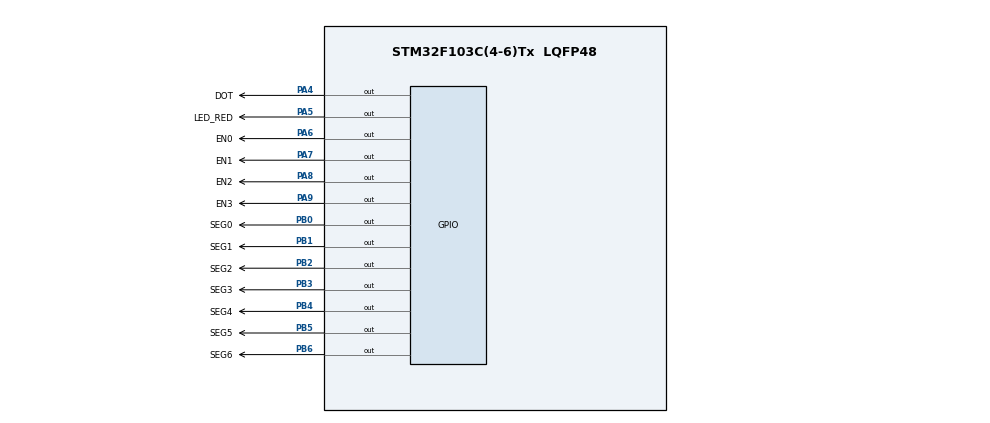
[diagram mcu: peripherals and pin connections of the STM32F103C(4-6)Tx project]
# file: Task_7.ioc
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Mcu.Family=STM32F1
Mcu.Name=STM32F103C(4-6)Tx
Mcu.Package=LQFP48
NVIC.PriorityGroup=NVIC_PRIORITYGROUP_4
NVIC.TIM2_IRQn=true\:0\:0\:false\:false\:true\:true\:true
PA4.GPIO_Label=DOT
PA4.Signal=GPIO_Output
PA5.GPIO_Label=LED_RED
PA5.Signal=GPIO_Output
PA6.GPIO_Label=EN0
PA6.Signal=GPIO_Output
PA7.GPIO_Label=EN1
PA7.Signal=GPIO_Output
PA8.GPIO_Label=EN2
PA8.Signal=GPIO_Output
PA9.GPIO_Label=EN3
PA9.Signal=GPIO_Output
PB0.GPIO_Label=SEG0
PB0.Signal=GPIO_Output
PB1.GPIO_Label=SEG1
PB1.Signal=GPIO_Output
PB2.GPIO_Label=SEG2
PB2.Signal=GPIO_Output
PB3.GPIO_Label=SEG3
PB3.Signal=GPIO_Output
PB4.GPIO_Label=SEG4
PB4.Signal=GPIO_Output
PB5.GPIO_Label=SEG5
PB5.Signal=GPIO_Output
PB6.GPIO_Label=SEG6
PB6.Signal=GPIO_Output
ProjectManager.HeapSize=0x200
ProjectManager.StackSize=0x400
ProjectManager.TargetToolchain=STM32CubeIDE
RCC.APB1Freq_Value=8000000
RCC.APB2Freq_Value=8000000
TIM2.Period=9
TIM2.Prescaler=7999
VP_SYS_VS_ND.Mode=No_Debug
VP_TIM2_VS_ClockSourceINT.Mode=Internal
board=custom

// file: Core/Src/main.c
/* USER CODE BEGIN Header */
/**
  ******************************************************************************
  * @file           : main.c
  * @brief          : Main program body
  ******************************************************************************
  * @attention
  *
  * <h2><center>&copy; Copyright (c) 2022 STMicroelectronics.
  * All rights reserved.</center></h2>
  *
  * This software component is licensed by ST under BSD 3-Clause license,
  * the "License"; You may not use this file except in compliance with the
  * License. You may obtain a copy of the License at:
  *                        opensource.org/licenses/BSD-3-Clause
  *
  ******************************************************************************
  */
/* USER CODE END Header */
#include "main.h"

/* USER CODE BEGIN Includes */
#include "software_timer.h"
/* USER CODE END Includes */

TIM_HandleTypeDef htim2;

void SystemClock_Config(void);
static void MX_GPIO_Init(void);
static void MX_TIM2_Init(void);

void  display7SEG_1(int num)     // LED 7 doan kiem soat den giao thong o line 1 va 3
   {

 	 if(num==0)
 	 {
 	 	 // Number 0
 	           HAL_GPIO_WritePin(SEG0_GPIO_Port, SEG0_Pin, 0);          //a
 	  	       HAL_GPIO_WritePin(SEG1_GPIO_Port, SEG1_Pin, 0);      //b
 	  	       HAL_GPIO_WritePin(SEG2_GPIO_Port, SEG2_Pin, 0);     //c
 	  	       HAL_GPIO_WritePin(SEG3_GPIO_Port, SEG3_Pin, 0);     //d
 	  	       HAL_GPIO_WritePin(SEG4_GPIO_Port, SEG4_Pin, 0);     //e
 	  	       HAL_GPIO_WritePin(SEG5_GPIO_Port, SEG5_Pin, 0);     //f
 	  	       HAL_GPIO_WritePin(SEG6_GPIO_Port, SEG6_Pin, 1);    //g
 	 }
 	 if(num==1)
 	 {
 		 // Number 1

 		          HAL_GPIO_WritePin(SEG0_GPIO_Port, SEG0_Pin, 1);          //a
 		 	  	  HAL_GPIO_WritePin(SEG1_GPIO_Port, SEG1_Pin, 0);      //b
 		 	  	  HAL_GPIO_WritePin(SEG2_GPIO_Port, SEG2_Pin, 0);     //c
 		 	  	  HAL_GPIO_WritePin(SEG3_GPIO_Port, SEG3_Pin, 1);     //d
 		 	  	  HAL_GPIO_WritePin(SEG4_GPIO_Port, SEG4_Pin, 1);     //e
 		 	  	  HAL_GPIO_WritePin(SEG5_GPIO_Port, SEG5_Pin, 1);     //f
 		 	  	  HAL_GPIO_WritePin(SEG6_GPIO_Port, SEG6_Pin, 1);    //g
 	 }
 	 if(num==2)
 	 {
 		 // Number 2

 		          HAL_GPIO_WritePin(SEG0_GPIO_Port, SEG0_Pin, 0);          //a
 		 	  	  HAL_GPIO_WritePin(SEG1_GPIO_Port, SEG1_Pin, 0);      //b
 		 	  	  HAL_GPIO_WritePin(SEG2_GPIO_Port, SEG2_Pin, 1);     //c
 		 	  	  HAL_GPIO_WritePin(SEG3_GPIO_Port, SEG3_Pin, 0);     //d
 		 	  	  HAL_GPIO_WritePin(SEG4_GPIO_Port, SEG4_Pin, 0);     //e
 		 	  	  HAL_GPIO_WritePin(SEG5_GPIO_Port, SEG5_Pin, 1);     //f
 		 	  	  HAL_GPIO_WritePin(SEG6_GPIO_Port, SEG6_Pin, 0);    //g
 	 }
 	 if(num==3)
 	 {
 		          HAL_GPIO_WritePin(SEG0_GPIO_Port, SEG0_Pin, 0);          //a
 		 	  	  HAL_GPIO_WritePin(SEG1_GPIO_Port, SEG1_Pin, 0);      //b
 		 	  	  HAL_GPIO_WritePin(SEG2_GPIO_Port, SEG2_Pin, 0);     //c
 		 	  	  HAL_GPIO_WritePin(SEG3_GPIO_Port, SEG3_Pin, 0);     //d
 		 	  	  HAL_GPIO_WritePin(SEG4_GPIO_Port, SEG4_Pin, 1);     //e
 		 	  	  HAL_GPIO_WritePin(SEG5_GPIO_Port, SEG5_Pin, 1);     //f
 		 	  	  HAL_GPIO_WritePin(SEG6_GPIO_Port, SEG6_Pin, 0);    //g
 	 }
 	 if(num==4)
 	 {
 		 // Number 4
 		          HAL_GPIO_WritePin(SEG0_GPIO_Port, SEG0_Pin, 1);          //a
 		 	  	  HAL_GPIO_WritePin(SEG1_GPIO_Port, SEG1_Pin, 0);      //b
 		 	  	  HAL_GPIO_WritePin(SEG2_GPIO_Port, SEG2_Pin, 0);     //c
 		 	  	  HAL_GPIO_WritePin(SEG3_GPIO_Port, SEG3_Pin, 1);     //d
 		 	  	  HAL_GPIO_WritePin(SEG4_GPIO_Port, SEG4_Pin, 1);     //e
 		 	  	  HAL_GPIO_WritePin(SEG5_GPIO_Port, SEG5_Pin, 0);     //f
 		 	  	  HAL_GPIO_WritePin(SEG6_GPIO_Port, SEG6_Pin, 0);    //g
 	 }
 	 if(num==5)
 	 {
 		 //Number= 5
 		          HAL_GPIO_WritePin(SEG0_GPIO_Port, SEG0_Pin, 0);          //a
 		 	  	  HAL_GPIO_WritePin(SEG1_GPIO_Port, SEG1_Pin, 1);      //b
 		 	  	  HAL_GPIO_WritePin(SEG2_GPIO_Port, SEG2_Pin, 0);     //c
 		 	  	  HAL_GPIO_WritePin(SEG3_GPIO_Port, SEG3_Pin, 0);     //d
 		 	  	  HAL_GPIO_WritePin(SEG4_GPIO_Port, SEG4_Pin, 1);     //e
 		 	  	  HAL_GPIO_WritePin(SEG5_GPIO_Port, SEG5_Pin, 0);     //f
 		 	  	  HAL_GPIO_WritePin(SEG6_GPIO_Port, SEG6_Pin, 0);    //g
 	 }
 	 if(num==6)
 	 {
 		 // Number 6
 		          HAL_GPIO_WritePin(SEG0_GPIO_Port, SEG0_Pin, 0);          //a
 		 	  	  HAL_GPIO_WritePin(SEG1_GPIO_Port, SEG1_Pin, 1);      //b
 		 	  	  HAL_GPIO_WritePin(SEG2_GPIO_Port, SEG2_Pin, 0);     //c
 		 	  	  HAL_GPIO_WritePin(SEG3_GPIO_Port, SEG3_Pin, 0);     //d
 		 	  	  HAL_GPIO_WritePin(SEG4_GPIO_Port, SEG4_Pin, 0);     //e
 		 	  	  HAL_GPIO_WritePin(SEG5_GPIO_Port, SEG5_Pin, 0);     //f
 		 	  	  HAL_GPIO_WritePin(SEG6_GPIO_Port, SEG6_Pin, 0);    //g
 	 }
 	 if(num==7)
 	 {
 		 // Number 7
 		          HAL_GPIO_WritePin(SEG0_GPIO_Port, SEG0_Pin, 0);          //a
 		 	  	  HAL_GPIO_WritePin(SEG1_GPIO_Port, SEG1_Pin, 0);      //b
 		 	  	  HAL_GPIO_WritePin(SEG2_GPIO_Port, SEG2_Pin, 0);     //c
 		 	  	  HAL_GPIO_WritePin(SEG3_GPIO_Port, SEG3_Pin, 1);     //d
 		 	  	  HAL_GPIO_WritePin(SEG4_GPIO_Port, SEG4_Pin, 1);     //e
 		 	  	  HAL_GPIO_WritePin(SEG5_GPIO_Port, SEG5_Pin, 1);     //f
 		 	  	  HAL_GPIO_WritePin(SEG6_GPIO_Port, SEG6_Pin, 1);    //g
 	 }
 	 if(num==8)
 	 {
 		  // Number 8
 		          HAL_GPIO_WritePin(SEG0_GPIO_Port, SEG0_Pin, 0);          //a
 		 	  	  HAL_GPIO_WritePin(SEG1_GPIO_Port, SEG1_Pin, 0);      //b
 		 	  	  HAL_GPIO_WritePin(SEG2_GPIO_Port, SEG2_Pin, 0);     //c
 		 	  	  HAL_GPIO_WritePin(SEG3_GPIO_Port, SEG3_Pin, 0);     //d
 		 	  	  HAL_GPIO_WritePin(SEG4_GPIO_Port, SEG4_Pin, 0);     //e
 		 	  	  HAL_GPIO_WritePin(SEG5_GPIO_Port, SEG5_Pin, 0);     //f
 		 	  	  HAL_GPIO_WritePin(SEG6_GPIO_Port, SEG6_Pin, 0);    //g
 	 }
 	 if(num==9)
 	 {
 		 // Number 9
 		          HAL_GPIO_WritePin(SEG0_GPIO_Port, SEG0_Pin, 0);          //a
 		 	  	  HAL_GPIO_WritePin(SEG1_GPIO_Port, SEG1_Pin, 0);      //b
 		 	  	  HAL_GPIO_WritePin(SEG2_GPIO_Port, SEG2_Pin, 0);     //c
 		 	  	  HAL_GPIO_WritePin(SEG3_GPIO_Port, SEG3_Pin, 0);     //d
 		 	  	  HAL_GPIO_WritePin(SEG4_GPIO_Port, SEG4_Pin, 1);     //e
 		 	  	  HAL_GPIO_WritePin(SEG5_GPIO_Port, SEG5_Pin, 0);     //f
 		 	  	  HAL_GPIO_WritePin(SEG6_GPIO_Port, SEG6_Pin, 0);    //g
 	 }
   }

int main(void)
{

  /* MCU Configuration--------------------------------------------------------*/

  /* Reset of all peripherals, Initializes the Flash interface and the Systick. */
  HAL_Init();

  /* Configure the system clock */
  SystemClock_Config();

  /* Initialize all configured peripherals */
  MX_GPIO_Init();
  MX_TIM2_Init();
  /* USER CODE BEGIN 2 */
  HAL_TIM_Base_Start_IT (& htim2 );
  /* USER CODE END 2 */

  /* Infinite loop */
  /* USER CODE BEGIN WHILE */
  int hour = 15, minute = 8, second = 50;
  setTimer1(100);
  setTimer2(25);
  int index_led=0;
  while (1)
  {
    /* USER CODE END WHILE */
	  if(timer1_flag==1)
	  {
		  setTimer1(100);
		  second++;
		        if(second >=60)
		         {
		       	 second=0;
		       	 minute++;
		         }
		        if(minute >=60)
		          {
		       	  minute = 0;
		       	  hour++;
		       	}
		       if(hour>=24)
		         {
		       	  hour=0;
		         }
	  }
	  if(timer2_flag== 1)
	  {
		 setTimer2(25);
		 index_led++;
	  }
	updateClockBuffer(hour, minute);
	update7SEG(index_led);
	  if(index_led> 4)
	  {
		  index_led= 0;
	  }
  }
  /* USER CODE END 3 */
}

void SystemClock_Config(void)
{
  RCC_OscInitTypeDef RCC_OscInitStruct = {0};
  RCC_ClkInitTypeDef RCC_ClkInitStruct = {0};

  /** Initializes the RCC Oscillators according to the specified parameters
  * in the RCC_OscInitTypeDef structure.
  */
  RCC_OscInitStruct.OscillatorType = RCC_OSCILLATORTYPE_HSI;
  RCC_OscInitStruct.HSIState = RCC_HSI_ON;
  RCC_OscInitStruct.HSICalibrationValue = RCC_HSICALIBRATION_DEFAULT;
  RCC_OscInitStruct.PLL.PLLState = RCC_PLL_NONE;
  if (HAL_RCC_OscConfig(&RCC_OscInitStruct) != HAL_OK)
  {
    Error_Handler();
  }
  /** Initializes the CPU, AHB and APB buses clocks
  */
  RCC_ClkInitStruct.ClockType = RCC_CLOCKTYPE_HCLK|RCC_CLOCKTYPE_SYSCLK
                              |RCC_CLOCKTYPE_PCLK1|RCC_CLOCKTYPE_PCLK2;
  RCC_ClkInitStruct.SYSCLKSource = RCC_SYSCLKSOURCE_HSI;
  RCC_ClkInitStruct.AHBCLKDivider = RCC_SYSCLK_DIV1;
  RCC_ClkInitStruct.APB1CLKDivider = RCC_HCLK_DIV1;
  RCC_ClkInitStruct.APB2CLKDivider = RCC_HCLK_DIV1;

  if (HAL_RCC_ClockConfig(&RCC_ClkInitStruct, FLASH_LATENCY_0) != HAL_OK)
  {
    Error_Handler();
  }
}

static void MX_TIM2_Init(void)
{

  TIM_ClockConfigTypeDef sClockSourceConfig = {0};
  TIM_MasterConfigTypeDef sMasterConfig = {0};

  htim2.Instance = TIM2;
  htim2.Init.Prescaler = 7999;
  htim2.Init.CounterMode = TIM_COUNTERMODE_UP;
  htim2.Init.Period = 9;
  htim2.Init.ClockDivision = TIM_CLOCKDIVISION_DIV1;
  htim2.Init.AutoReloadPreload = TIM_AUTORELOAD_PRELOAD_DISABLE;
  if (HAL_TIM_Base_Init(&htim2) != HAL_OK)
  {
    Error_Handler();
  }
  sClockSourceConfig.ClockSource = TIM_CLOCKSOURCE_INTERNAL;
  if (HAL_TIM_ConfigClockSource(&htim2, &sClockSourceConfig) != HAL_OK)
  {
    Error_Handler();
  }
  sMasterConfig.MasterOutputTrigger = TIM_TRGO_RESET;
  sMasterConfig.MasterSlaveMode = TIM_MASTERSLAVEMODE_DISABLE;
  if (HAL_TIMEx_MasterConfigSynchronization(&htim2, &sMasterConfig) != HAL_OK)
  {
    Error_Handler();
  }

}

static void MX_GPIO_Init(void)
{
  GPIO_InitTypeDef GPIO_InitStruct = {0};

  /* GPIO Ports Clock Enable */
  __HAL_RCC_GPIOA_CLK_ENABLE();
  __HAL_RCC_GPIOB_CLK_ENABLE();

  /*Configure GPIO pin Output Level */
  HAL_GPIO_WritePin(GPIOA, DOT_Pin|LED_RED_Pin|EN0_Pin|EN1_Pin
                          |EN2_Pin|EN3_Pin, GPIO_PIN_RESET);

  /*Configure GPIO pin Output Level */
  HAL_GPIO_WritePin(GPIOB, SEG0_Pin|SEG1_Pin|SEG2_Pin|SEG3_Pin
                          |SEG4_Pin|SEG5_Pin|SEG6_Pin, GPIO_PIN_RESET);

  /*Configure GPIO pins : DOT_Pin LED_RED_Pin EN0_Pin EN1_Pin
                           EN2_Pin EN3_Pin */
  GPIO_InitStruct.Pin = DOT_Pin|LED_RED_Pin|EN0_Pin|EN1_Pin
                          |EN2_Pin|EN3_Pin;
  GPIO_InitStruct.Mode = GPIO_MODE_OUTPUT_PP;
  GPIO_InitStruct.Pull = GPIO_NOPULL;
  GPIO_InitStruct.Speed = GPIO_SPEED_FREQ_LOW;
  HAL_GPIO_Init(GPIOA, &GPIO_InitStruct);

  /*Configure GPIO pins : SEG0_Pin SEG1_Pin SEG2_Pin SEG3_Pin
                           SEG4_Pin SEG5_Pin SEG6_Pin */
  GPIO_InitStruct.Pin = SEG0_Pin|SEG1_Pin|SEG2_Pin|SEG3_Pin
                          |SEG4_Pin|SEG5_Pin|SEG6_Pin;
  GPIO_InitStruct.Mode = GPIO_MODE_OUTPUT_PP;
  GPIO_InitStruct.Pull = GPIO_NOPULL;
  GPIO_InitStruct.Speed = GPIO_SPEED_FREQ_LOW;
  HAL_GPIO_Init(GPIOB, &GPIO_InitStruct);

}

/* USER CODE BEGIN 4 */
int led_buffer [4] = {1 , 2 , 3 , 4};
int index_led=0;
void HAL_TIM_PeriodElapsedCallback ( TIM_HandleTypeDef * htim ){
	 timerRun();
}
void updateClockBuffer(int hour, int minute){
	// Cap nhat gio
	if(hour<10){
		led_buffer[0]= 0;
		led_buffer[1]= hour;
	}
	else if(hour<20&& hour>10){
		led_buffer[0]= 1;
		led_buffer[1]= hour%10;
	}
	else{
	    led_buffer[0]= 2;
		led_buffer[1]= hour%20;
	}
	//Cap nhat phut
	if(minute<10){
		led_buffer[2]= 0;
		led_buffer[3]= minute;
	}
	else if(minute>=10&& minute<20){
		led_buffer[2]= 1;
		led_buffer[3]= minute%10;
	}
	else if(minute>=20&& minute<30){
		led_buffer[2]= 2;
		led_buffer[3]= minute%20;
	}
	else if(minute>=30&& minute<40){
		led_buffer[2]= 3;
		led_buffer[3]=  minute%30;
	}
	else if(minute>=40&& minute<50){
		led_buffer[2]= 4;
		led_buffer[3]= minute%40;
	}
	else if(minute>=50&& minute<60){
		led_buffer[2]= 5;
		led_buffer[3]= minute%50;
	}
	else{
		led_buffer[2]= 6;
		led_buffer[3]= 0;
	}
}
void update7SEG(int index)
{
	switch (index)
	{
	case 0:  // Display the first 7 SEG
		HAL_GPIO_WritePin(EN0_GPIO_Port, EN0_Pin, 0);
		HAL_GPIO_WritePin(EN1_GPIO_Port, EN1_Pin, 1);
		HAL_GPIO_WritePin(EN2_GPIO_Port, EN2_Pin, 1);
		HAL_GPIO_WritePin(EN3_GPIO_Port, EN3_Pin, 1);
		display7SEG_1(led_buffer[0]);
		break;
	case 1: // Display the second 7 SEG
		HAL_GPIO_WritePin(EN0_GPIO_Port, EN0_Pin, 1);
		HAL_GPIO_WritePin(EN1_GPIO_Port, EN1_Pin, 0);
		HAL_GPIO_WritePin(EN2_GPIO_Port, EN2_Pin, 1);
		HAL_GPIO_WritePin(EN3_GPIO_Port, EN3_Pin, 1);
		display7SEG_1(led_buffer[1]);
		break;
	case 2: // Display the third 7 SEG
		HAL_GPIO_WritePin(EN0_GPIO_Port, EN0_Pin, 1);
		HAL_GPIO_WritePin(EN1_GPIO_Port, EN1_Pin, 1);
		HAL_GPIO_WritePin(EN2_GPIO_Port, EN2_Pin, 0);
		HAL_GPIO_WritePin(EN3_GPIO_Port, EN3_Pin, 1);
		display7SEG_1(led_buffer[2]);
		break;
	case 3: // Display the forth 7 SEG
		HAL_GPIO_WritePin(EN0_GPIO_Port, EN0_Pin, 1);
		HAL_GPIO_WritePin(EN1_GPIO_Port, EN1_Pin, 1);
		HAL_GPIO_WritePin(EN2_GPIO_Port, EN2_Pin, 1);
		HAL_GPIO_WritePin(EN3_GPIO_Port, EN3_Pin, 0);
		display7SEG_1(led_buffer[3]);
		break;
	default:
		break;
	}
}

/* USER CODE END 4 */

void Error_Handler(void)
{
  __disable_irq();
  while (1)
  {
  }
}

/************************ (C) COPYRIGHT STMicroelectronics *****END OF FILE****/
